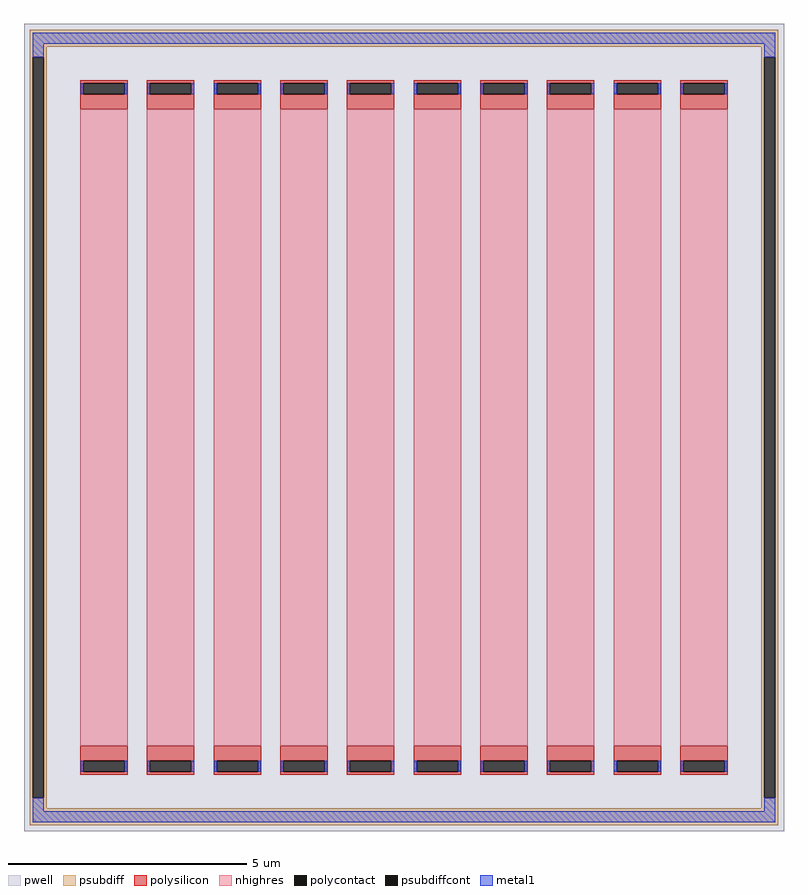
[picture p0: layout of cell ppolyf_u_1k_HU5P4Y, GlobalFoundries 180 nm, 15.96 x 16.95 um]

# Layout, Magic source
magic
tech gf180mcuD
magscale 1 10
<< pwell >>
rect -1596 -1695 1596 1695
<< psubdiff >>
rect -1572 1599 1572 1671
rect -1572 1555 -1500 1599
rect -1572 -1555 -1559 1555
rect -1513 -1555 -1500 1555
rect 1500 1555 1572 1599
rect -1572 -1599 -1500 -1555
rect 1500 -1555 1513 1555
rect 1559 -1555 1572 1555
rect 1500 -1599 1572 -1555
rect -1572 -1671 1572 -1599
<< psubdiffcont >>
rect -1559 -1555 -1513 1555
rect 1513 -1555 1559 1555
<< polysilicon >>
rect -1360 1446 -1160 1459
rect -1360 1400 -1347 1446
rect -1173 1400 -1160 1446
rect -1360 1337 -1160 1400
rect -1360 -1400 -1160 -1337
rect -1360 -1446 -1347 -1400
rect -1173 -1446 -1160 -1400
rect -1360 -1459 -1160 -1446
rect -1080 1446 -880 1459
rect -1080 1400 -1067 1446
rect -893 1400 -880 1446
rect -1080 1337 -880 1400
rect -1080 -1400 -880 -1337
rect -1080 -1446 -1067 -1400
rect -893 -1446 -880 -1400
rect -1080 -1459 -880 -1446
rect -800 1446 -600 1459
rect -800 1400 -787 1446
rect -613 1400 -600 1446
rect -800 1337 -600 1400
rect -800 -1400 -600 -1337
rect -800 -1446 -787 -1400
rect -613 -1446 -600 -1400
rect -800 -1459 -600 -1446
rect -520 1446 -320 1459
rect -520 1400 -507 1446
rect -333 1400 -320 1446
rect -520 1337 -320 1400
rect -520 -1400 -320 -1337
rect -520 -1446 -507 -1400
rect -333 -1446 -320 -1400
rect -520 -1459 -320 -1446
rect -240 1446 -40 1459
rect -240 1400 -227 1446
rect -53 1400 -40 1446
rect -240 1337 -40 1400
rect -240 -1400 -40 -1337
rect -240 -1446 -227 -1400
rect -53 -1446 -40 -1400
rect -240 -1459 -40 -1446
rect 40 1446 240 1459
rect 40 1400 53 1446
rect 227 1400 240 1446
rect 40 1337 240 1400
rect 40 -1400 240 -1337
rect 40 -1446 53 -1400
rect 227 -1446 240 -1400
rect 40 -1459 240 -1446
rect 320 1446 520 1459
rect 320 1400 333 1446
rect 507 1400 520 1446
rect 320 1337 520 1400
rect 320 -1400 520 -1337
rect 320 -1446 333 -1400
rect 507 -1446 520 -1400
rect 320 -1459 520 -1446
rect 600 1446 800 1459
rect 600 1400 613 1446
rect 787 1400 800 1446
rect 600 1337 800 1400
rect 600 -1400 800 -1337
rect 600 -1446 613 -1400
rect 787 -1446 800 -1400
rect 600 -1459 800 -1446
rect 880 1446 1080 1459
rect 880 1400 893 1446
rect 1067 1400 1080 1446
rect 880 1337 1080 1400
rect 880 -1400 1080 -1337
rect 880 -1446 893 -1400
rect 1067 -1446 1080 -1400
rect 880 -1459 1080 -1446
rect 1160 1446 1360 1459
rect 1160 1400 1173 1446
rect 1347 1400 1360 1446
rect 1160 1337 1360 1400
rect 1160 -1400 1360 -1337
rect 1160 -1446 1173 -1400
rect 1347 -1446 1360 -1400
rect 1160 -1459 1360 -1446
<< polycontact >>
rect -1347 1400 -1173 1446
rect -1347 -1446 -1173 -1400
rect -1067 1400 -893 1446
rect -1067 -1446 -893 -1400
rect -787 1400 -613 1446
rect -787 -1446 -613 -1400
rect -507 1400 -333 1446
rect -507 -1446 -333 -1400
rect -227 1400 -53 1446
rect -227 -1446 -53 -1400
rect 53 1400 227 1446
rect 53 -1446 227 -1400
rect 333 1400 507 1446
rect 333 -1446 507 -1400
rect 613 1400 787 1446
rect 613 -1446 787 -1400
rect 893 1400 1067 1446
rect 893 -1446 1067 -1400
rect 1173 1400 1347 1446
rect 1173 -1446 1347 -1400
<< nhighres >>
rect -1360 -1337 -1160 1337
rect -1080 -1337 -880 1337
rect -800 -1337 -600 1337
rect -520 -1337 -320 1337
rect -240 -1337 -40 1337
rect 40 -1337 240 1337
rect 320 -1337 520 1337
rect 600 -1337 800 1337
rect 880 -1337 1080 1337
rect 1160 -1337 1360 1337
<< metal1 >>
rect -1559 1612 1559 1658
rect -1559 1555 -1513 1612
rect 1513 1555 1559 1612
rect -1358 1400 -1347 1446
rect -1173 1400 -1162 1446
rect -1078 1400 -1067 1446
rect -893 1400 -882 1446
rect -798 1400 -787 1446
rect -613 1400 -602 1446
rect -518 1400 -507 1446
rect -333 1400 -322 1446
rect -238 1400 -227 1446
rect -53 1400 -42 1446
rect 42 1400 53 1446
rect 227 1400 238 1446
rect 322 1400 333 1446
rect 507 1400 518 1446
rect 602 1400 613 1446
rect 787 1400 798 1446
rect 882 1400 893 1446
rect 1067 1400 1078 1446
rect 1162 1400 1173 1446
rect 1347 1400 1358 1446
rect -1358 -1446 -1347 -1400
rect -1173 -1446 -1162 -1400
rect -1078 -1446 -1067 -1400
rect -893 -1446 -882 -1400
rect -798 -1446 -787 -1400
rect -613 -1446 -602 -1400
rect -518 -1446 -507 -1400
rect -333 -1446 -322 -1400
rect -238 -1446 -227 -1400
rect -53 -1446 -42 -1400
rect 42 -1446 53 -1400
rect 227 -1446 238 -1400
rect 322 -1446 333 -1400
rect 507 -1446 518 -1400
rect 602 -1446 613 -1400
rect 787 -1446 798 -1400
rect 882 -1446 893 -1400
rect 1067 -1446 1078 -1400
rect 1162 -1446 1173 -1400
rect 1347 -1446 1358 -1400
rect -1559 -1612 -1513 -1555
rect 1513 -1612 1559 -1555
rect -1559 -1658 1559 -1612
<< properties >>
string FIXED_BBOX -1536 -1635 1536 1635
string gencell ppolyf_u_1k
string library gf180mcu
string parameters w 1.0 l 13.37 m 1 nx 10 wmin 1.000 lmin 1.000 class resistor rho 1000 val 13.37k dummy 0 dw 0.0 term 0.0 sterm 0.0 caplen 0.4 snake 0 glc 1 grc 1 gtc 0 gbc 0 roverlap 0 endcov 100 full_metal 1 compatible {ppolyf_u_1k ppolyf_u_1k_6p0}
<< end >>
